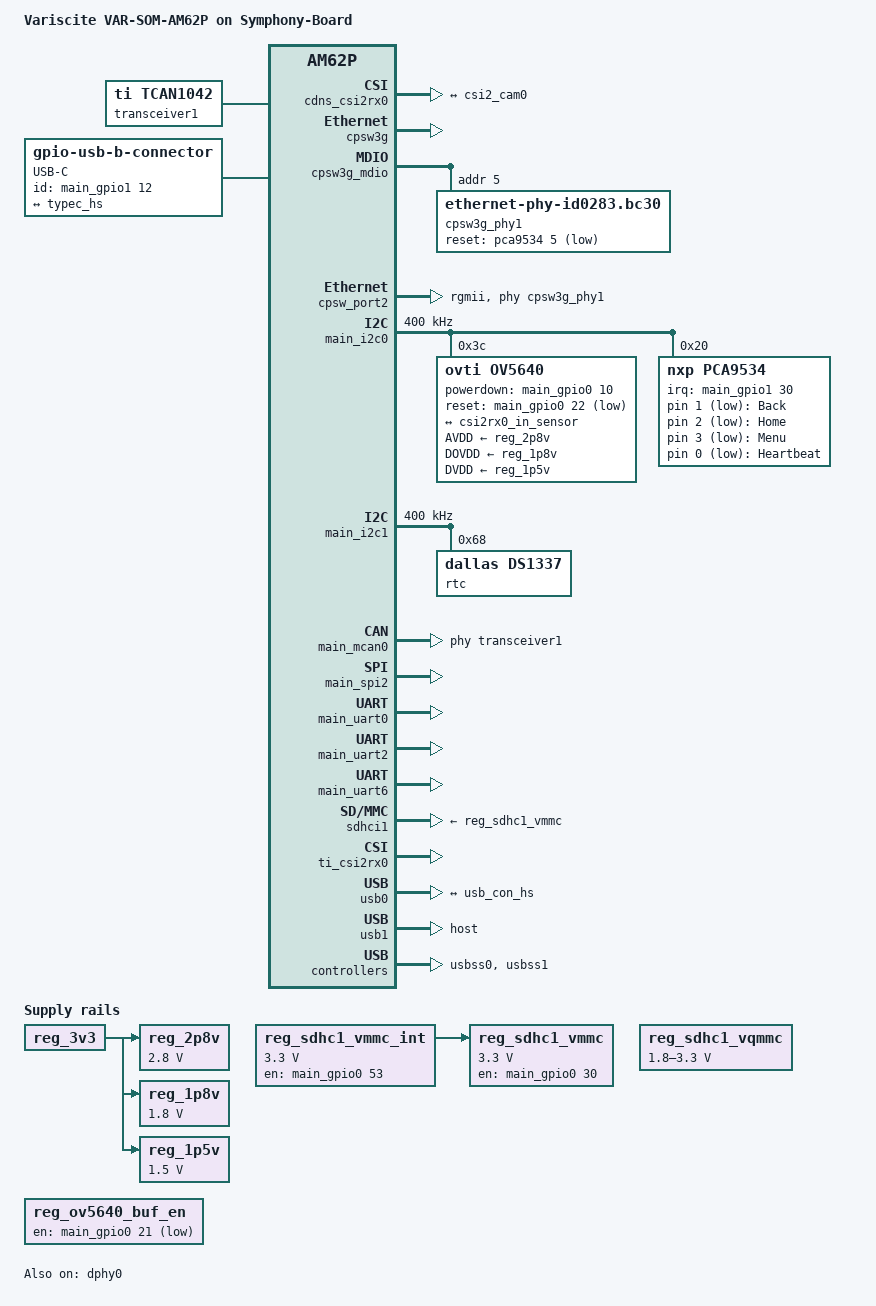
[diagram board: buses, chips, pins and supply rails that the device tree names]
// SPDX-License-Identifier: GPL-2.0
/*
 * Variscite Symphony carrier board for VAR-SOM-AM62P
 *
 * Link: https://www.variscite.it/product/single-board-computers/symphony-board/
 *
 * Copyright (C) 2025 Variscite Ltd. - https://www.variscite.com/
 *
 */

/dts-v1/;

#include "k3-am62p5-var-som.dtsi"

/ {
	model = "Variscite VAR-SOM-AM62P on Symphony-Board";
	compatible = "variscite,var-som-am62p-symphony", "variscite,var-som-am62p", "ti,am62p5";

	aliases {
		ethernet0 = &cpsw_port1;
		ethernet1 = &cpsw_port2;
		mmc0 = &sdhci0;
		mmc1 = &sdhci1;
		mmc2 = &sdhci2;
		serial0 = &main_uart0;
		serial2 = &main_uart2;
		serial5 = &main_uart5;
		serial6 = &main_uart6;
		spi5 = &main_spi2;
		usb0 = &usb0;
		usb1 = &usb1;
	};

	chosen {
		stdout-path = "serial0:115200n8";
	};

	clk_ov5640_fixed: clock-24000000 {
		#clock-cells = <0>;
		compatible = "fixed-clock";
		clock-frequency = <24000000>;
	};

	gpio-keys {
		compatible = "gpio-keys";

		button-back {
			label = "Back";
			linux,code = <KEY_BACK>;
			gpios = <&pca9534 1 GPIO_ACTIVE_LOW>;
		};

		button-home {
			label = "Home";
			linux,code = <KEY_HOME>;
			gpios = <&pca9534 2 GPIO_ACTIVE_LOW>;
		};

		button-menu {
			label = "Menu";
			linux,code = <KEY_MENU>;
			gpios = <&pca9534 3 GPIO_ACTIVE_LOW>;
		};
	};

	gpio-leds {
		compatible = "gpio-leds";

		led-heartbeat {
			label = "Heartbeat";
			linux,default-trigger = "heartbeat";
			gpios = <&pca9534 0 GPIO_ACTIVE_LOW>;
		};
	};

	reg_2p8v: regulator-2p8v {
		compatible = "regulator-fixed";
		regulator-name = "2P8V";
		regulator-min-microvolt = <2800000>;
		regulator-max-microvolt = <2800000>;
		vin-supply = <&reg_3v3>;
		regulator-always-on;
	};

	reg_1p8v: regulator-1p8v {
		compatible = "regulator-fixed";
		regulator-name = "1P8V";
		regulator-min-microvolt = <1800000>;
		regulator-max-microvolt = <1800000>;
		vin-supply = <&reg_3v3>;
		regulator-always-on;
	};

	reg_1p5v: regulator-1p5v {
		compatible = "regulator-fixed";
		regulator-name = "1P5V";
		regulator-min-microvolt = <1500000>;
		regulator-max-microvolt = <1500000>;
		vin-supply = <&reg_3v3>;
		regulator-always-on;
	};

	reg_sdhc1_vmmc: regulator-sdhc1 {
		compatible = "regulator-fixed";
		regulator-name = "+V3.3_SD";
		vin-supply = <&reg_sdhc1_vmmc_int>;
		regulator-min-microvolt = <3300000>;
		regulator-max-microvolt = <3300000>;
		regulator-boot-on;
		enable-active-high;
		gpio = <&main_gpio0 30 GPIO_ACTIVE_HIGH>;
		bootph-all;
	};

	reg_sdhc1_vmmc_int: regulator-sdhc1-int {
		compatible = "regulator-fixed";
		regulator-name = "+V3.3_SD_INT";
		pinctrl-names = "default";
		pinctrl-0 = <&pinctrl_sd1_vmmc>;
		regulator-min-microvolt = <3300000>;
		regulator-max-microvolt = <3300000>;
		regulator-boot-on;
		enable-active-high;
		gpio = <&main_gpio0 53 GPIO_ACTIVE_HIGH>;
		bootph-all;
	};

	reg_sdhc1_vqmmc: regulator-sdhci1-vqmmc {
		compatible = "regulator-gpio";
		regulator-name = "+V3.3_SD_VQMMC";
		pinctrl-names = "default";
		pinctrl-0 = <&pinctrl_sd1_vqmmc>;
		regulator-min-microvolt = <1800000>;
		regulator-max-microvolt = <3300000>;
		regulator-boot-on;
		gpios = <&main_gpio0 56 GPIO_ACTIVE_HIGH>;
		states = <1800000 0x0>,
			 <3300000 0x1>;
		bootph-all;
	};

	reg_ov5640_buf_en: regulator-camera-buf-en {
		compatible = "regulator-fixed";
		regulator-name = "ov5640_buf_en";
		gpios = <&main_gpio0 21 GPIO_ACTIVE_HIGH>;
		regulator-always-on;
		regulator-boot-on;
	};

	transceiver1: can-phy {
		compatible = "ti,tcan1042";
		#phy-cells = <0>;
		max-bitrate = <5000000>;
	};

	connector {
		compatible = "gpio-usb-b-connector", "usb-b-connector";
		pinctrl-names = "default";
		pinctrl-0 = <&pinctrl_extcon>;
		label = "USB-C";
		id-gpios = <&main_gpio1 12 GPIO_ACTIVE_HIGH>;
		status = "okay";

		port {
			usb_con_hs: endpoint {
				remote-endpoint = <&typec_hs>;
			};
		};
	};
};

&cdns_csi2rx0 {
	ports {
		#address-cells = <1>;
		#size-cells = <0>;

		csi0_port0: port@0 {
			reg = <0>;
			status = "okay";

			csi2rx0_in_sensor: endpoint {
				remote-endpoint = <&csi2_cam0>;
				bus-type = <4>; /* CSI2 DPHY. */
				clock-lanes = <0>;
				data-lanes = <1 2>;
			};
		};
	};
};

&cpsw3g {
	pinctrl-names = "default";
	pinctrl-0 = <&pinctrl_rgmii1>,
		    <&pinctrl_rgmii2>;
	status = "okay";
};

&cpsw3g_mdio {
	pinctrl-names = "default";
	pinctrl-0 = <&pinctrl_mdio1>;
	status = "okay";

	cpsw3g_phy1: ethernet-phy@5 {
		compatible = "ethernet-phy-id0283.bc30";
		reg = <5>;
		reset-gpios = <&pca9534 5 GPIO_ACTIVE_LOW>;
		reset-assert-us = <10000>;
		reset-deassert-us = <100000>;
	};
};

&cpsw_port2 {
	/*
	 * The required RGMII TX and RX 2ns delays are implemented directly
	 * in hardware via passive delay elements on the Symphony PCB.
	 * No delay configuration is needed in software via PHY driver.
	 */
	phy-mode = "rgmii";
	phy-handle = <&cpsw3g_phy1>;
	status = "okay";
};

&dphy0 {
	status = "okay";
};

&main_i2c0{
	pinctrl-names = "default";
	pinctrl-0 = <&pinctrl_i2c0>;
	clock-frequency = <400000>;
	status = "okay";

	ov5640: camera@3c {
		compatible = "ovti,ov5640";
		reg = <0x3c>;
		clocks = <&clk_ov5640_fixed>;
		clock-names = "xclk";
		AVDD-supply = <&reg_2p8v>;
		DOVDD-supply = <&reg_1p8v>;
		DVDD-supply = <&reg_1p5v>;
		powerdown-gpios = <&main_gpio0 10 GPIO_ACTIVE_HIGH>;
		reset-gpios = <&main_gpio0 22 GPIO_ACTIVE_LOW>;
		pinctrl-names = "default";
		pinctrl-0 = <&pinctrl_ov5640>;

		port {
			csi2_cam0: endpoint {
				remote-endpoint = <&csi2rx0_in_sensor>;
				clock-lanes = <0>;
				data-lanes = <1 2>;
			};
		};
	};

	/* GPIO expander */
	pca9534: gpio@20 {
		compatible = "nxp,pca9534";
		reg = <0x20>;
		gpio-controller;
		pinctrl-names = "default";
		pinctrl-0 = <&pinctrl_pca9534>;
		interrupt-parent = <&main_gpio1>;
		interrupts = <30 IRQ_TYPE_EDGE_FALLING>;
		#gpio-cells = <2>;
		status = "okay";

		usb3-sel-hog {
			gpio-hog;
			gpios = <4 0>;
			output-low;
			line-name = "usb3_sel";
		};

		eth-som-vselect-hog {
			gpio-hog;
			gpios = <6 0>;
			output-low;
			line-name = "eth-vselect";
		};

		eth-mdio-enable-hog {
			gpio-hog;
			gpios = <7 0>;
			output-high;
			line-name = "eth-mdio-enable";
		};
	};
};

&main_i2c1 {
	pinctrl-names = "default";
	pinctrl-0 = <&pinctrl_i2c1>;
	clock-frequency = <400000>;
	status = "okay";

	rtc@68 {
		compatible = "dallas,ds1337";
		reg = <0x68>;
	};
};

&main_mcan0 {
	pinctrl-names = "default";
	pinctrl-0 = <&pinctrl_mcan0>;
	phys = <&transceiver1>;
	status = "okay";
};

&main_pmx0 {
	pinctrl_extcon: main-extcon-pins {
		pinctrl-single,pins = <
			AM62PX_IOPAD(0x01a8, PIN_INPUT, 7) /* (F25) MCASP0_AFSX.GPIO1_12 */
		>;
	};

	pinctrl_i2c0: main-i2c0-default-pins {
		pinctrl-single,pins = <
			AM62PX_IOPAD(0x01e0, PIN_INPUT_PULLUP, 0) /* (B25) I2C0_SCL */
			AM62PX_IOPAD(0x01e4, PIN_INPUT_PULLUP, 0) /* (A24) I2C0_SDA */
		>;
	};

	pinctrl_i2c1: main-i2c1-default-pins {
		pinctrl-single,pins = <
			AM62PX_IOPAD(0x01e8, PIN_INPUT_PULLUP, 0) /* (C24) I2C1_SCL */
			AM62PX_IOPAD(0x01ec, PIN_INPUT_PULLUP, 0) /* (B24) I2C1_SDA */
		>;
		bootph-all;
	};

	pinctrl_mcan0: main-mcan0-default-pins {
		pinctrl-single,pins = <
			AM62PX_IOPAD(0x01dc, PIN_INPUT, 0) /* (F20) MCAN0_RX */
			AM62PX_IOPAD(0x01d8, PIN_OUTPUT, 0) /* (B23) MCAN0_TX */
		>;
	};

	pinctrl_mmc1: main-mmc1-default-pins {
		pinctrl-single,pins = <
			AM62PX_IOPAD(0x023c, PIN_INPUT, 0) /* (H20) MMC1_CMD */
			AM62PX_IOPAD(0x0234, PIN_OUTPUT, 0) /* (J24) MMC1_CLK */
			AM62PX_IOPAD(0x0230, PIN_INPUT, 0) /* (H21) MMC1_DAT0 */
			AM62PX_IOPAD(0x022c, PIN_INPUT, 0) /* (H23) MMC1_DAT1 */
			AM62PX_IOPAD(0x0228, PIN_INPUT, 0) /* (H22) MMC1_DAT2 */
			AM62PX_IOPAD(0x0224, PIN_INPUT, 0) /* (H25) MMC1_DAT3 */
			AM62PX_IOPAD(0x0240, PIN_INPUT, 0) /* (D23) MMC1_SDCD */
		>;
		bootph-all;
	};

	pinctrl_rgmii2: main-rgmii2-default-pins {
		pinctrl-single,pins = <
			AM62PX_IOPAD(0x0184, PIN_INPUT, 0) /* (E19) RGMII2_RD0 */
			AM62PX_IOPAD(0x0188, PIN_INPUT, 0) /* (E16) RGMII2_RD1 */
			AM62PX_IOPAD(0x018c, PIN_INPUT, 0) /* (E17) RGMII2_RD2 */
			AM62PX_IOPAD(0x0190, PIN_INPUT, 0) /* (C19) RGMII2_RD3 */
			AM62PX_IOPAD(0x0180, PIN_INPUT, 0) /* (D19) RGMII2_RXC */
			AM62PX_IOPAD(0x017c, PIN_INPUT, 0) /* (F19) RGMII2_RX_CTL */
			AM62PX_IOPAD(0x016c, PIN_INPUT, 0) /* (B19) RGMII2_TD0 */
			AM62PX_IOPAD(0x0170, PIN_INPUT, 0) /* (A21) RGMII2_TD1 */
			AM62PX_IOPAD(0x0174, PIN_INPUT, 0) /* (D17) RGMII2_TD2 */
			AM62PX_IOPAD(0x0178, PIN_INPUT, 0) /* (A19) RGMII2_TD3 */
			AM62PX_IOPAD(0x0168, PIN_INPUT_PULLDOWN, 0) /* (D16) RGMII2_TXC */
			AM62PX_IOPAD(0x0164, PIN_INPUT, 0) /* (A20) RGMII2_TX_CTL */
		>;
	};

	pinctrl_spi2: main-spi2-default-pins {
		pinctrl-single,pins = <
			AM62PX_IOPAD(0x01b0, PIN_INPUT, 1) /* (G20) MCASP0_ACLKR.SPI2_CLK */
			AM62PX_IOPAD(0x0194, PIN_OUTPUT, 1) /* (D25) MCASP0_AXR3.SPI2_D0 */
			AM62PX_IOPAD(0x0198, PIN_INPUT, 1) /* (E25) MCASP0_AXR2.SPI2_D1 */
			AM62PX_IOPAD(0x01ac, PIN_OUTPUT, 7) /* (G23) MCASP0_AFSR.GPIO1_13 */
		>;
	};

	pinctrl_uart0: main-uart0-default-pins {
		pinctrl-single,pins = <
			AM62PX_IOPAD(0x1c8, PIN_INPUT, 0)	/* (A22) UART0_RXD */
			AM62PX_IOPAD(0x1cc, PIN_OUTPUT, 0)	/* (B22) UART0_TXD */
		>;
		bootph-all;
	};

	pinctrl_uart2: main-uart2-default-pins {
		pinctrl-single,pins = <
			AM62PX_IOPAD(0x005c, PIN_INPUT_PULLUP, 2) /* (AC25) GPMC0_AD8.UART2_RXD */
			AM62PX_IOPAD(0x0060, PIN_OUTPUT, 2) /* (AB25) GPMC0_AD9.UART2_TXD */
		>;
	};

	pinctrl_uart6: main-uart6-default-pins {
		pinctrl-single,pins = <
			AM62PX_IOPAD(0x009c, PIN_INPUT_PULLUP, 3) /* (AD24) GPMC0_WAIT1.UART6_RXD */
			AM62PX_IOPAD(0x0244, PIN_OUTPUT, 1) /* (D24) MMC1_SDWP.UART6_TXD */
		>;
	};

	pinctrl_usb1: main-usb1-default-pins {
		pinctrl-single,pins = <
			AM62PX_IOPAD(0x0258, PIN_OUTPUT, 0) /* (G21) USB1_DRVVBUS */
		>;
	};

	pinctrl_ov5640: main-ov5640-pins {
		pinctrl-single,pins = <
			AM62PX_IOPAD(0x0028, PIN_OUTPUT, 7) /* (N20) OSPI0_D7.GPIO0_10 */
			AM62PX_IOPAD(0x0054, PIN_OUTPUT, 7) /* (V24) GPMC0_AD6.GPIO0_21 */
			AM62PX_IOPAD(0x0058, PIN_OUTPUT, 7) /* (W25) GPMC0_AD7.GPIO0_22 */
		>;
	};

	pinctrl_pca9534: main-pca9534-pins {
		pinctrl-single,pins = <
			AM62PX_IOPAD(0x01f0, PIN_INPUT, 7) /* (C25) EXT_REFCLK1.GPIO1_30 */
		>;
	};

	pinctrl_sd1_vmmc: main-sd1-vmmc-pins {
		pinctrl-single,pins = <
			AM62PX_IOPAD(0x0078, PIN_OUTPUT, 7) /* (AC24) GPMC0_AD15.GPIO0_30 */
			AM62PX_IOPAD(0x00d8, PIN_OUTPUT, 7) /* (AE22) VOUT0_DATA8.GPIO0_53 */
		>;
		bootph-all;
	};

	pinctrl_sd1_vqmmc: main-sd1-vqmmc-pins {
		pinctrl-single,pins = <
			AM62PX_IOPAD(0x00e4, PIN_OUTPUT, 7) /* (AE21) VOUT0_DATA11.GPIO0_56 */
		>;
		bootph-all;
	};
};

&main_spi2 {
	pinctrl-names = "default";
	pinctrl-0 = <&pinctrl_spi2>;
	ti,pindir-d0-out-d1-in;
	cs-gpios = <&main_gpio1 13 GPIO_ACTIVE_HIGH>;
	status = "okay";
};

&main_uart0 {
	pinctrl-names = "default";
	pinctrl-0 = <&pinctrl_uart0>;
	status = "okay";
};

&main_uart2 {
	pinctrl-names = "default";
	pinctrl-0 = <&pinctrl_uart2>;
	status = "okay";
};

&main_uart6 {
	pinctrl-names = "default";
	pinctrl-0 = <&pinctrl_uart6>;
	status = "okay";
};

&sdhci1 {
	/* SD Card */
	vmmc-supply = <&reg_sdhc1_vmmc>;
	vqmmc-supply = <&reg_sdhc1_vqmmc>;
	pinctrl-names = "default";
	pinctrl-0 = <&pinctrl_mmc1>;
	disable-wp;
	bootph-all;
	status="okay";
};

&ti_csi2rx0 {
	status = "okay";
};

&usb0 {
	usb-role-switch;
	status = "okay";

	port {
		typec_hs: endpoint {
			remote-endpoint = <&usb_con_hs>;
		};
	};
};

&usb1 {
	dr_mode = "host";
	pinctrl-names = "default";
	pinctrl-0 = <&pinctrl_usb1>;
	status = "okay";
};

&usbss0 {
	status = "okay";
};

&usbss1 {
	status = "okay";
};
